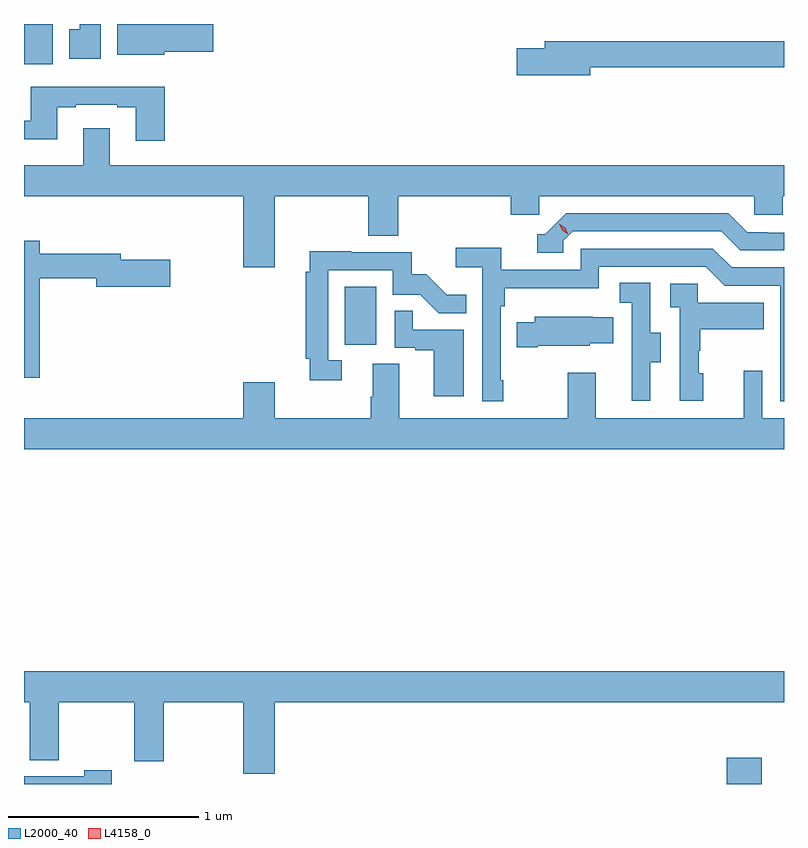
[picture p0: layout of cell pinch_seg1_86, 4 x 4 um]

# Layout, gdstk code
import gdstk
lib = gdstk.Library(unit=1e-6, precision=1e-09)
def R(c, l, rs):  # rectangles x0, y0, x1, y1
    for r in rs: c.add(gdstk.rectangle(r[:2], r[2:], *l))
def P(c, l, *ps):  # polygons
    for p in ps: c.add(gdstk.Polygon(p, *l))
L2000_40 = (2000, 40)
L4158_0 = (4158, 0)

pinch_seg1_86 = lib.new_cell('pinch_seg1_86')
R(pinch_seg1_86, L2000_40, [(1018.7,577.943,1018.883,578.08), (1016.69,580.254,1016.854,580.561), (1015.001,581.732,1015.153,581.943)])
P(pinch_seg1_86, L2000_40, [(1015.405,581.943),(1015.295,581.943),(1015.295,581.916),(1015.238,581.916),(1015.238,581.76),(1015.405,581.76)],
  [(1015.74,581.798),(1015.997,581.798),(1015.997,581.943),(1015.493,581.943),(1015.493,581.78),(1015.74,581.78)],
  [(1017.982,581.716),(1019.001,581.716),(1019.001,581.852),(1017.743,581.852),(1017.743,581.816),(1017.594,581.816),(1017.594,581.674),(1017.982,581.674)],
  [(1015.742,581.614),(1015.037,581.614),(1015.037,581.433),(1015.001,581.433),(1015.001,581.336),(1015.177,581.336),(1015.177,581.505),(1015.273,581.505),(1015.273,581.517),(1015.493,581.517),(1015.493,581.505),(1015.589,581.505),(1015.589,581.328),(1015.742,581.328)],
  [(1016.156,580.662),(1016.32,580.662),(1016.32,581.036),(1016.812,581.036),(1016.812,580.828),(1016.972,580.828),(1016.972,581.036),(1017.563,581.036),(1017.563,580.938),(1017.714,580.938),(1017.714,581.036),(1018.845,581.036),(1018.845,580.938),(1018.995,580.938),(1018.995,581.036),(1019.001,581.036),(1019.001,581.2),(1015.453,581.2),(1015.453,581.395),(1015.313,581.395),(1015.313,581.2),(1015.001,581.2),(1015.001,581.036),(1016.156,581.036)],
  [(1017.84,580.803),(1017.888,580.851),(1018.671,580.851),(1018.77,580.752),(1019.001,580.752),(1019.001,580.845),(1018.914,580.845),(1018.914,580.848),(1018.807,580.848),(1018.708,580.947),(1017.855,580.947),(1017.744,580.836),(1017.701,580.836),(1017.701,580.74),(1017.84,580.74)],
  [(1015.084,580.606),(1015.382,580.606),(1015.382,580.559),(1015.771,580.559),(1015.771,580.701),(1015.51,580.701),(1015.51,580.735),(1015.084,580.735),(1015.084,580.801),(1015.001,580.801),(1015.001,580.08),(1015.084,580.08)],
  [(1017.523,580.069),(1017.51,580.069),(1017.51,580.457),(1017.53,580.457),(1017.53,580.553),(1018.026,580.553),(1018.026,580.665),(1018.59,580.665),(1018.689,580.566),(1018.98,580.566),(1018.98,579.957),(1019.001,579.957),(1019.001,580.662),(1018.726,580.662),(1018.627,580.761),(1017.93,580.761),(1017.93,580.65),(1017.512,580.65),(1017.512,580.766),(1017.273,580.766),(1017.273,580.664),(1017.414,580.664),(1017.414,579.957),(1017.523,579.957)],
  [(1016.674,580.173),(1016.601,580.173),(1016.601,580.647),(1016.943,580.647),(1016.943,580.518),(1017.087,580.518),(1017.185,580.42),(1017.329,580.42),(1017.329,580.519),(1017.225,580.519),(1017.118,580.626),(1017.042,580.626),(1017.042,580.743),(1016.723,580.743),(1016.723,580.748),(1016.504,580.748),(1016.504,580.64),(1016.485,580.64),(1016.485,580.18),(1016.504,580.18),(1016.504,580.068),(1016.674,580.068)],
  [(1018.297,580.162),(1018.351,580.162),(1018.351,580.317),(1018.296,580.317),(1018.296,580.58),(1018.137,580.58),(1018.137,580.477),(1018.2,580.477),(1018.2,580.173),(1018.199,580.173),(1018.199,579.96),(1018.297,579.96)],
  [(1018.576,580.104),(1018.551,580.104),(1018.551,580.223),(1018.561,580.223),(1018.561,580.337),(1018.895,580.337),(1018.895,580.477),(1018.548,580.477),(1018.548,580.575),(1018.401,580.575),(1018.401,580.451),(1018.452,580.451),(1018.452,579.96),(1018.576,579.96)],
  [(1017.316,580.335),(1017.047,580.335),(1017.047,580.433),(1016.952,580.433),(1016.952,580.239),(1017.059,580.239),(1017.059,580.227),(1017.158,580.227),(1017.158,579.984),(1017.316,579.984)],
  [(1017.706,580.25),(1017.978,580.25),(1017.978,580.262),(1018.103,580.262),(1018.103,580.399),(1017.995,580.399),(1017.995,580.402),(1017.689,580.402),(1017.689,580.372),(1017.595,580.372),(1017.595,580.243),(1017.706,580.243)],
  [(1019.001,579.868),(1018.887,579.868),(1018.887,580.117),(1018.79,580.117),(1018.79,579.868),(1018.009,579.868),(1018.009,580.108),(1017.862,580.108),(1017.862,579.868),(1016.977,579.868),(1016.977,580.154),(1016.837,580.154),(1016.837,579.98),(1016.825,579.98),(1016.825,579.868),(1016.32,579.868),(1016.32,580.057),(1016.156,580.057),(1016.156,579.868),(1015.001,579.868),(1015.001,579.704),(1019.001,579.704)],
  [(1016.32,578.372),(1019.001,578.372),(1019.001,578.536),(1015.001,578.536),(1015.001,578.372),(1015.03,578.372),(1015.03,578.068),(1015.184,578.068),(1015.184,578.372),(1015.582,578.372),(1015.582,578.064),(1015.737,578.064),(1015.737,578.372),(1016.156,578.372),(1016.156,577.998),(1016.32,577.998)],
  [(1015.462,578.016),(1015.317,578.016),(1015.317,577.983),(1015.001,577.983),(1015.001,577.943),(1015.462,577.943)])
P(pinch_seg1_86, L4158_0, [(1017.864,580.837),(1017.834,580.858),(1017.819,580.89),(1017.819,580.891),(1017.819,580.891),(1017.849,580.87),(1017.864,580.838),(1017.864,580.837)])

lib.write_gds('pinch_seg1_86.gds')
